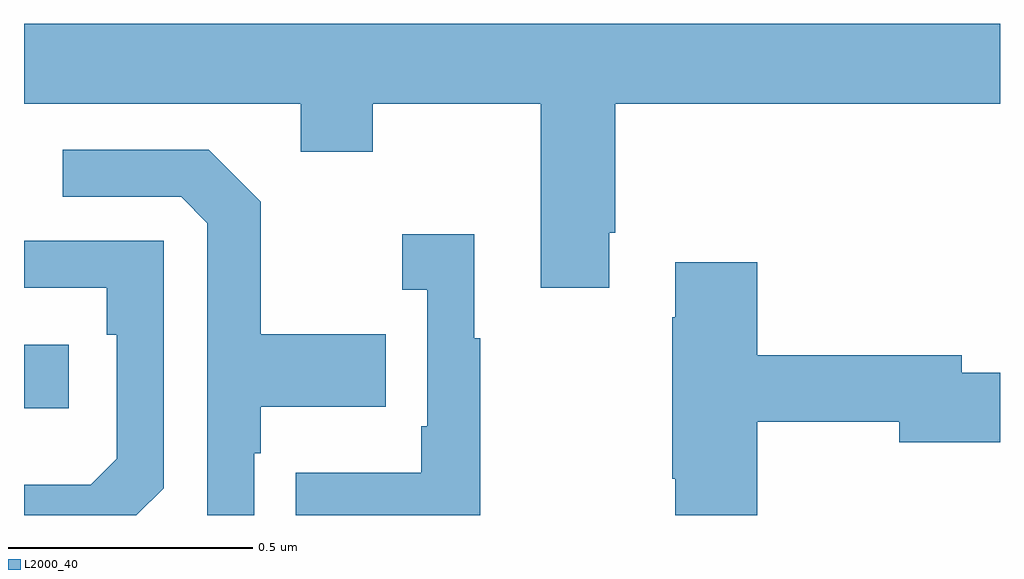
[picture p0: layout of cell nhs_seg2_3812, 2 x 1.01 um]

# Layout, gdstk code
import gdstk
lib = gdstk.Library(unit=1e-6, precision=1e-09)
def R(c, l, rs):  # rectangles x0, y0, x1, y1
    for r in rs: c.add(gdstk.rectangle(r[:2], r[2:], *l))
def P(c, l, *ps):  # polygons
    for p in ps: c.add(gdstk.Polygon(p, *l))
L2000_40 = (2000, 40)

nhs_seg2_3812 = lib.new_cell('nhs_seg2_3812')
R(nhs_seg2_3812, L2000_40, [(158,639.02,158.092,639.15)])
P(nhs_seg2_3812, L2000_40, [(158,639.644),(158.567,639.644),(158.567,639.545),(158.715,639.545),(158.715,639.644),(159.059,639.644),(159.059,639.267),(159.199,639.267),(159.199,639.379),(159.212,639.379),(159.212,639.644),(160,639.644),(160,639.808),(158,639.808)],
  [(158.472,638.927),(158.485,638.927),(158.485,639.023),(158.741,639.023),(158.741,639.171),(158.485,639.171),(158.485,639.443),(158.379,639.549),(158.079,639.549),(158.079,639.453),(158.322,639.453),(158.376,639.399),(158.376,638.8),(158.472,638.8)],
  [(158.935,639.163),(158.923,639.163),(158.923,639.376),(158.775,639.376),(158.775,639.263),(158.826,639.263),(158.826,638.983),(158.814,638.983),(158.814,638.887),(158.557,638.887),(158.557,638.8),(158.935,638.8)],
  [(158.286,638.856),(158.286,639.363),(158,639.363),(158,639.267),(158.17,639.267),(158.17,639.17),(158.19,639.17),(158.19,638.916),(158.137,638.863),(158,638.863),(158,638.8),(158.23,638.8)],
  [(159.503,638.992),(159.794,638.992),(159.794,638.95),(160,638.95),(160,639.092),(159.922,639.092),(159.922,639.128),(159.503,639.128),(159.503,639.319),(159.335,639.319),(159.335,639.206),(159.328,639.206),(159.328,638.875),(159.335,638.875),(159.335,638.8),(159.503,638.8)])

lib.write_gds('nhs_seg2_3812.gds')
